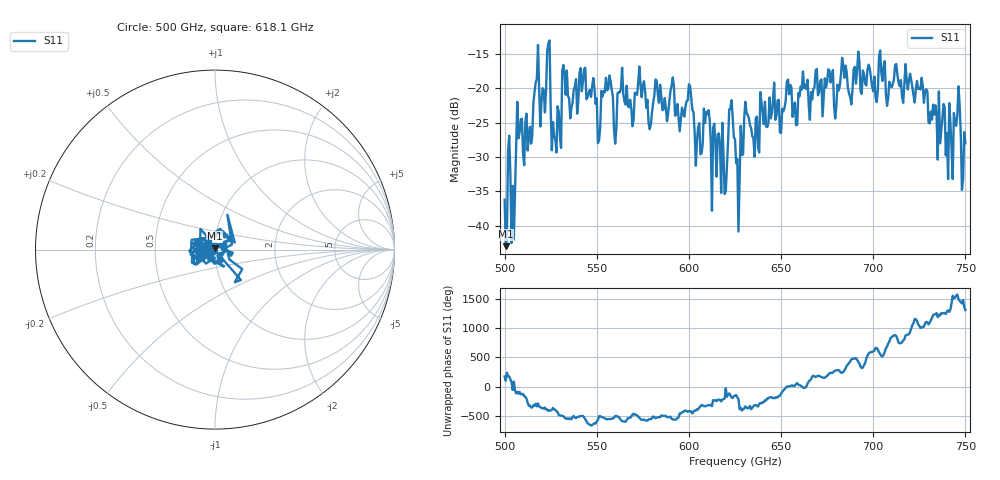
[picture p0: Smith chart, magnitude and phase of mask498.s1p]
!Created with skrf (http://scikit-rf.org).
# GHz S MA R 50.0
!freq magS11 angS11
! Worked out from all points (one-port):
!   401 points, 500 GHz to 750 GHz, reference 50 ohm
!   lowest |S11| = -43.0 dB at 500.6 GHz (marker M1), VSWR 1.01, Z = 49.9 + j0.691 ohm
!   |S11| at or under -10 dB: start of sweep to end of sweep
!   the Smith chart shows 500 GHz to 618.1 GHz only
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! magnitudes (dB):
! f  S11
! 500 GHz  -36.2
! 500.6 GHz  -43.0
! 505 GHz  -42.0
! 508.1 GHz  -26.5
! 513.8 GHz  -25.6
! 517.5 GHz  -18.7
! 520.6 GHz  -20.0
! 523.8 GHz  -13.5
! 526.9 GHz  -27.0
! 531.2 GHz  -17.5
! 542.5 GHz  -19.1
! 550.6 GHz  -28.0
! 562.5 GHz  -20.6
! 593.8 GHz  -22.3
! 600 GHz  -19.4
! 605 GHz  -25.7
! 609.4 GHz  -23.5
! 618.8 GHz  -29.5
! 622.5 GHz  -23.0
! 625 GHz  -27.4
! 626.2 GHz  -30.3
! 631.2 GHz  -23.5
! 636.9 GHz  -24.1
! 656.2 GHz  -24.2
! 687.5 GHz  -21.3
! 718.8 GHz  -20.2
! 745.6 GHz  -23.8
! 750 GHz  -28.0
